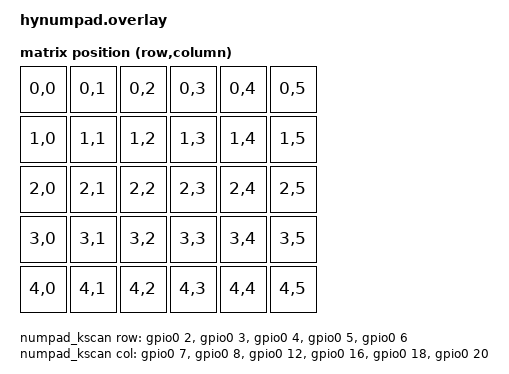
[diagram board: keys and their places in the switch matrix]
#include <dt-bindings/zmk/matrix_transform.h>
#include <physical_layouts.dtsi>

/ {
    chosen {
        zmk,kscan = &numpad_kscan;
        zmk,physical-layout = &numpad_layout;
    };

    numpad_transform: numpad_transform {
        compatible = "zmk,matrix-transform";
        rows = <5>;
        columns = <6>;
        map = <
            RC(0,0) RC(0,1) RC(0,2) RC(0,3) RC(0,4) RC(0,5)
            RC(1,0) RC(1,1) RC(1,2) RC(1,3) RC(1,4) RC(1,5)
            RC(2,0) RC(2,1) RC(2,2) RC(2,3) RC(2,4) RC(2,5)
            RC(3,0) RC(3,1) RC(3,2) RC(3,3) RC(3,4) RC(3,5)
            RC(4,0) RC(4,1) RC(4,2) RC(4,3) RC(4,4) RC(4,5)
        >;
    };

    numpad_layout: numpad_layout {
        compatible = "zmk,physical-layout";
        display-name = "HY NumPad PoC";
        transform = <&numpad_transform>;
        keys =
            <&key_physical_attrs 100 100   0   0 0 0 0>, <&key_physical_attrs 100 100 100   0 0 0 0>, <&key_physical_attrs 100 100 200   0 0 0 0>, <&key_physical_attrs 100 100 300   0 0 0 0>, <&key_physical_attrs 100 100 400   0 0 0 0>, <&key_physical_attrs 100 100 500   0 0 0 0>,
            <&key_physical_attrs 100 100   0 100 0 0 0>, <&key_physical_attrs 100 100 100 100 0 0 0>, <&key_physical_attrs 100 100 200 100 0 0 0>, <&key_physical_attrs 100 100 300 100 0 0 0>, <&key_physical_attrs 100 100 400 100 0 0 0>, <&key_physical_attrs 100 100 500 100 0 0 0>,
            <&key_physical_attrs 100 100   0 200 0 0 0>, <&key_physical_attrs 100 100 100 200 0 0 0>, <&key_physical_attrs 100 100 200 200 0 0 0>, <&key_physical_attrs 100 100 300 200 0 0 0>, <&key_physical_attrs 100 100 400 200 0 0 0>, <&key_physical_attrs 100 100 500 200 0 0 0>,
            <&key_physical_attrs 100 100   0 300 0 0 0>, <&key_physical_attrs 100 100 100 300 0 0 0>, <&key_physical_attrs 100 100 200 300 0 0 0>, <&key_physical_attrs 100 100 300 300 0 0 0>, <&key_physical_attrs 100 100 400 300 0 0 0>, <&key_physical_attrs 100 100 500 300 0 0 0>,
            <&key_physical_attrs 100 100   0 400 0 0 0>, <&key_physical_attrs 100 100 100 400 0 0 0>, <&key_physical_attrs 100 100 200 400 0 0 0>, <&key_physical_attrs 100 100 300 400 0 0 0>, <&key_physical_attrs 100 100 400 400 0 0 0>, <&key_physical_attrs 100 100 500 400 0 0 0>;
    };

    numpad_kscan: kscan {
        compatible = "zmk,kscan-gpio-matrix";
        wakeup-source;
        diode-direction = "col2row";

        row-gpios =
            <&gpio0 2 (GPIO_ACTIVE_HIGH | GPIO_PULL_DOWN)>,
            <&gpio0 3 (GPIO_ACTIVE_HIGH | GPIO_PULL_DOWN)>,
            <&gpio0 4 (GPIO_ACTIVE_HIGH | GPIO_PULL_DOWN)>,
            <&gpio0 5 (GPIO_ACTIVE_HIGH | GPIO_PULL_DOWN)>,
            <&gpio0 6 (GPIO_ACTIVE_HIGH | GPIO_PULL_DOWN)>;

        col-gpios =
            <&gpio0 7 GPIO_ACTIVE_HIGH>,
            <&gpio0 8 GPIO_ACTIVE_HIGH>,
            <&gpio0 12 GPIO_ACTIVE_HIGH>,
            <&gpio0 16 GPIO_ACTIVE_HIGH>,
            <&gpio0 18 GPIO_ACTIVE_HIGH>,
            <&gpio0 20 GPIO_ACTIVE_HIGH>;
    };
};
